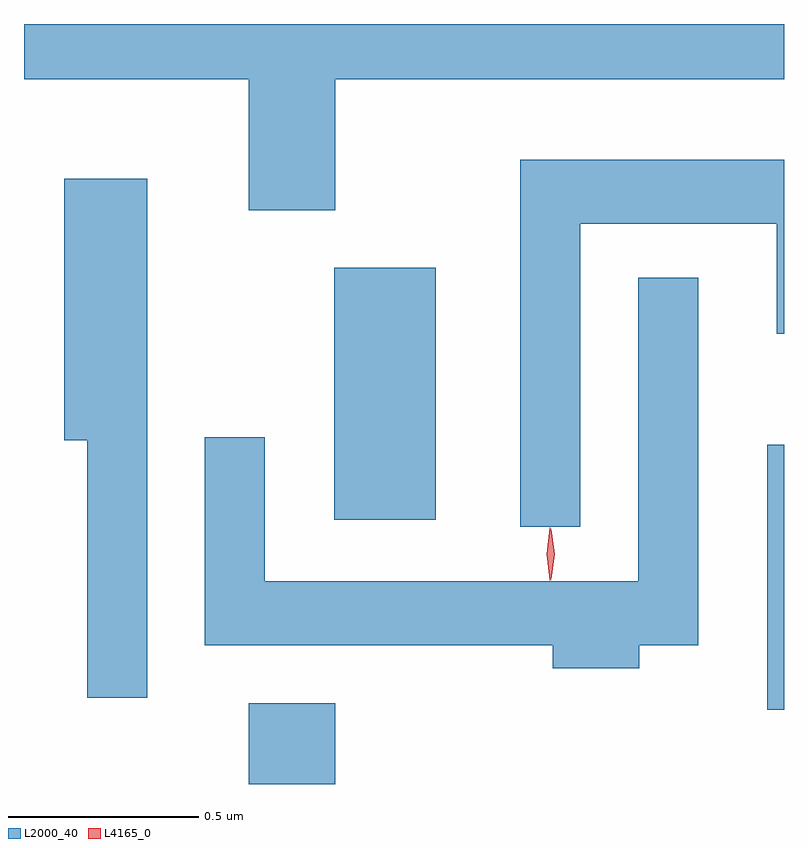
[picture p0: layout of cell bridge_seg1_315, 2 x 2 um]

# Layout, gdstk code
import gdstk
lib = gdstk.Library(unit=1e-6, precision=1e-09)
def R(c, l, rs):  # rectangles x0, y0, x1, y1
    for r in rs: c.add(gdstk.rectangle(r[:2], r[2:], *l))
def P(c, l, *ps):  # polygons
    for p in ps: c.add(gdstk.Polygon(p, *l))
L2000_40 = (2000, 40)
L4165_0 = (4165, 0)

bridge_seg1_315 = lib.new_cell('bridge_seg1_315')
R(bridge_seg1_315, L2000_40, [(842.191,877.741,842.419,877.954), (843.556,877.936,843.6,878.634), (842.416,878.436,842.684,879.099)])
P(bridge_seg1_315, L2000_40, [(842.419,879.596),(843.6,879.596),(843.6,879.741),(841.6,879.741),(841.6,879.596),(842.191,879.596),(842.191,879.251),(842.419,879.251)],
  [(843.064,879.216),(843.581,879.216),(843.581,878.926),(843.6,878.926),(843.6,879.384),(842.906,879.384),(842.906,878.418),(843.064,878.418)],
  [(841.924,879.334),(841.706,879.334),(841.706,878.646),(841.766,878.646),(841.766,877.968),(841.924,877.968)],
  [(843.219,878.106),(843.374,878.106),(843.374,879.073),(843.216,879.073),(843.216,878.274),(842.234,878.274),(842.234,878.653),(842.076,878.653),(842.076,878.106),(842.991,878.106),(842.991,878.046),(843.219,878.046)])
P(bridge_seg1_315, L4165_0, [(842.984,878.277),(842.975,878.346),(842.984,878.416),(842.985,878.416),(842.985,878.416),(842.995,878.346),(842.985,878.277),(842.985,878.277)],
  [(842.987,878.279),(842.987,878.28),(842.977,878.346),(842.987,878.412),(842.987,878.413),(842.988,878.412),(842.997,878.346),(842.988,878.28)])

lib.write_gds('bridge_seg1_315.gds')
